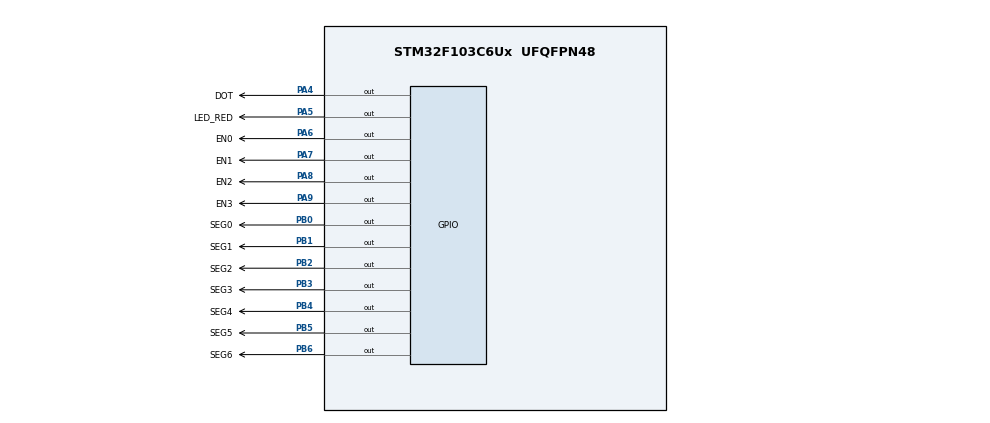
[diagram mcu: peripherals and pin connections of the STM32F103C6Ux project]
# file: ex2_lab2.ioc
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Mcu.Family=STM32F1
Mcu.Name=STM32F103C6Ux
Mcu.Package=UFQFPN48
NVIC.PriorityGroup=NVIC_PRIORITYGROUP_4
NVIC.TIM2_IRQn=true\:0\:0\:false\:false\:true\:true\:true
PA4.GPIO_Label=DOT
PA4.Signal=GPIO_Output
PA5.GPIO_Label=LED_RED
PA5.Signal=GPIO_Output
PA6.GPIO_Label=EN0
PA6.Signal=GPIO_Output
PA7.GPIO_Label=EN1
PA7.Signal=GPIO_Output
PA8.GPIO_Label=EN2
PA8.Signal=GPIO_Output
PA9.GPIO_Label=EN3
PA9.Signal=GPIO_Output
PB0.GPIO_Label=SEG0
PB0.Signal=GPIO_Output
PB1.GPIO_Label=SEG1
PB1.Signal=GPIO_Output
PB2.GPIO_Label=SEG2
PB2.Signal=GPIO_Output
PB3.GPIO_Label=SEG3
PB3.Signal=GPIO_Output
PB4.GPIO_Label=SEG4
PB4.Signal=GPIO_Output
PB5.GPIO_Label=SEG5
PB5.Signal=GPIO_Output
PB6.GPIO_Label=SEG6
PB6.Signal=GPIO_Output
ProjectManager.HeapSize=0x200
ProjectManager.StackSize=0x400
ProjectManager.TargetToolchain=STM32CubeIDE
RCC.APB1Freq_Value=8000000
RCC.APB2Freq_Value=8000000
TIM2.Period=9
TIM2.Prescaler=7999
VP_SYS_VS_ND.Mode=No_Debug
VP_TIM2_VS_ClockSourceINT.Mode=Internal
board=custom

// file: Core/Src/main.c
/* USER CODE BEGIN Header */
/**
  ******************************************************************************
  * @file           : main.c
  * @brief          : Main program body
  ******************************************************************************
  * @attention
  *
  * <h2><center>&copy; Copyright (c) 2022 STMicroelectronics.
  * All rights reserved.</center></h2>
  *
  * This software component is licensed by ST under BSD 3-Clause license,
  * the "License"; You may not use this file except in compliance with the
  * License. You may obtain a copy of the License at:
  *                        opensource.org/licenses/BSD-3-Clause
  *
  ******************************************************************************
  */
/* USER CODE END Header */
#include "main.h"

TIM_HandleTypeDef htim2;

void SystemClock_Config(void);
static void MX_GPIO_Init(void);
static void MX_TIM2_Init(void);

/* USER CODE BEGIN 0 */
void display7SEG(int num){
	uint16_t display[10] = {0x3f, 0x06, 0x5b, 0x4f, 0x66, 0x6d, 0x7D, 0x07, 0x7F, 0x6f};
	uint16_t bit_var = display[num];
	HAL_GPIO_WritePin(SEG0_GPIO_Port, SEG0_Pin, !(bit_var & 0x01));
		HAL_GPIO_WritePin(SEG1_GPIO_Port, SEG1_Pin, !((bit_var>>1)&0x01));
		HAL_GPIO_WritePin(SEG2_GPIO_Port, SEG2_Pin, !((bit_var>>2)&0x01));
		HAL_GPIO_WritePin(SEG3_GPIO_Port, SEG3_Pin, !((bit_var>>3)&0x01));
		HAL_GPIO_WritePin(SEG4_GPIO_Port, SEG4_Pin, !((bit_var>>4)&0x01));
		HAL_GPIO_WritePin(SEG5_GPIO_Port, SEG5_Pin, !((bit_var>>5)&0x01));
		HAL_GPIO_WritePin(SEG6_GPIO_Port, SEG6_Pin, !((bit_var>>6)&0x01));
}
/* USER CODE END 0 */

int main(void)
{

  /* MCU Configuration--------------------------------------------------------*/

  /* Reset of all peripherals, Initializes the Flash interface and the Systick. */
  HAL_Init();

  /* Configure the system clock */
  SystemClock_Config();

  /* Initialize all configured peripherals */
  MX_GPIO_Init();
  MX_TIM2_Init();
  /* USER CODE BEGIN 2 */
  HAL_TIM_Base_Start_IT(&htim2);
  /* USER CODE END 2 */

  /* Infinite loop */
  while (1)
  {

  }
}

void SystemClock_Config(void)
{
  RCC_OscInitTypeDef RCC_OscInitStruct = {0};
  RCC_ClkInitTypeDef RCC_ClkInitStruct = {0};

  /** Initializes the RCC Oscillators according to the specified parameters
  * in the RCC_OscInitTypeDef structure.
  */
  RCC_OscInitStruct.OscillatorType = RCC_OSCILLATORTYPE_HSI;
  RCC_OscInitStruct.HSIState = RCC_HSI_ON;
  RCC_OscInitStruct.HSICalibrationValue = RCC_HSICALIBRATION_DEFAULT;
  RCC_OscInitStruct.PLL.PLLState = RCC_PLL_NONE;
  if (HAL_RCC_OscConfig(&RCC_OscInitStruct) != HAL_OK)
  {
    Error_Handler();
  }
  /** Initializes the CPU, AHB and APB buses clocks
  */
  RCC_ClkInitStruct.ClockType = RCC_CLOCKTYPE_HCLK|RCC_CLOCKTYPE_SYSCLK
                              |RCC_CLOCKTYPE_PCLK1|RCC_CLOCKTYPE_PCLK2;
  RCC_ClkInitStruct.SYSCLKSource = RCC_SYSCLKSOURCE_HSI;
  RCC_ClkInitStruct.AHBCLKDivider = RCC_SYSCLK_DIV1;
  RCC_ClkInitStruct.APB1CLKDivider = RCC_HCLK_DIV1;
  RCC_ClkInitStruct.APB2CLKDivider = RCC_HCLK_DIV1;

  if (HAL_RCC_ClockConfig(&RCC_ClkInitStruct, FLASH_LATENCY_0) != HAL_OK)
  {
    Error_Handler();
  }
}

static void MX_TIM2_Init(void)
{

  TIM_ClockConfigTypeDef sClockSourceConfig = {0};
  TIM_MasterConfigTypeDef sMasterConfig = {0};

  htim2.Instance = TIM2;
  htim2.Init.Prescaler = 7999;
  htim2.Init.CounterMode = TIM_COUNTERMODE_UP;
  htim2.Init.Period = 9;
  htim2.Init.ClockDivision = TIM_CLOCKDIVISION_DIV1;
  htim2.Init.AutoReloadPreload = TIM_AUTORELOAD_PRELOAD_DISABLE;
  if (HAL_TIM_Base_Init(&htim2) != HAL_OK)
  {
    Error_Handler();
  }
  sClockSourceConfig.ClockSource = TIM_CLOCKSOURCE_INTERNAL;
  if (HAL_TIM_ConfigClockSource(&htim2, &sClockSourceConfig) != HAL_OK)
  {
    Error_Handler();
  }
  sMasterConfig.MasterOutputTrigger = TIM_TRGO_RESET;
  sMasterConfig.MasterSlaveMode = TIM_MASTERSLAVEMODE_DISABLE;
  if (HAL_TIMEx_MasterConfigSynchronization(&htim2, &sMasterConfig) != HAL_OK)
  {
    Error_Handler();
  }

}

static void MX_GPIO_Init(void)
{
  GPIO_InitTypeDef GPIO_InitStruct = {0};

  /* GPIO Ports Clock Enable */
  __HAL_RCC_GPIOA_CLK_ENABLE();
  __HAL_RCC_GPIOB_CLK_ENABLE();

  /*Configure GPIO pin Output Level */
  HAL_GPIO_WritePin(GPIOA, DOT_Pin|LED_RED_Pin|EN0_Pin|EN1_Pin
                          |EN2_Pin|EN3_Pin, GPIO_PIN_RESET);

  /*Configure GPIO pin Output Level */
  HAL_GPIO_WritePin(GPIOB, SEG0_Pin|SEG1_Pin|SEG2_Pin|SEG3_Pin
                          |SEG4_Pin|SEG5_Pin|SEG6_Pin, GPIO_PIN_RESET);

  /*Configure GPIO pins : DOT_Pin LED_RED_Pin EN0_Pin EN1_Pin
                           EN2_Pin EN3_Pin */
  GPIO_InitStruct.Pin = DOT_Pin|LED_RED_Pin|EN0_Pin|EN1_Pin
                          |EN2_Pin|EN3_Pin;
  GPIO_InitStruct.Mode = GPIO_MODE_OUTPUT_PP;
  GPIO_InitStruct.Pull = GPIO_NOPULL;
  GPIO_InitStruct.Speed = GPIO_SPEED_FREQ_LOW;
  HAL_GPIO_Init(GPIOA, &GPIO_InitStruct);

  /*Configure GPIO pins : SEG0_Pin SEG1_Pin SEG2_Pin SEG3_Pin
                           SEG4_Pin SEG5_Pin SEG6_Pin */
  GPIO_InitStruct.Pin = SEG0_Pin|SEG1_Pin|SEG2_Pin|SEG3_Pin
                          |SEG4_Pin|SEG5_Pin|SEG6_Pin;
  GPIO_InitStruct.Mode = GPIO_MODE_OUTPUT_PP;
  GPIO_InitStruct.Pull = GPIO_NOPULL;
  GPIO_InitStruct.Speed = GPIO_SPEED_FREQ_LOW;
  HAL_GPIO_Init(GPIOB, &GPIO_InitStruct);

}

/* USER CODE BEGIN 4 */
/*
 *variable counter is used to turn on and turn off
 *led each 0.5s
 */
int counter = 50;
int status = 0;
int counter1 = 100;// counter1 is used to turn on and turn off DOT and LED_RED in 1s period
void HAL_TIM_PeriodElapsedCallback(TIM_HandleTypeDef* htim)
{
	counter--;
	counter1--;
	//if counter <= 0, toggle DOT and LED_RED
		if(counter1 <= 0){
			counter1 = 100;
			HAL_GPIO_TogglePin(GPIOA, DOT_Pin);
			HAL_GPIO_TogglePin(LED_RED_GPIO_Port, LED_RED_Pin);
		}
		// LED 7 SEGMENT_0 turns on and others turn off
		if(status == 0){
			//if counter <= 0, status = 1 and set counter = 50
			if(counter <=0 ) {
				counter = 50;
				status = 1;
			}
			HAL_GPIO_WritePin(GPIOA, EN0_Pin, RESET);
			HAL_GPIO_WritePin(GPIOA, EN1_Pin, SET);
			HAL_GPIO_WritePin(GPIOA, EN2_Pin, SET);
			HAL_GPIO_WritePin(GPIOA, EN3_Pin, SET);
			display7SEG(1);
		}
		// LED 7 SEGMENT_1 is turns on and others turn off
		if(status == 1){
			//if counter <= 0, status = 2 and set counter = 50
			if(counter <=0 ) {
				counter = 50;
				status = 2;
			}
			HAL_GPIO_WritePin(GPIOA, EN0_Pin, SET);
			HAL_GPIO_WritePin(GPIOA, EN1_Pin, RESET);
			HAL_GPIO_WritePin(GPIOA, EN2_Pin, SET);
			HAL_GPIO_WritePin(GPIOA, EN3_Pin, SET);
			display7SEG(2);
			}
		// LED 7 SEGMENT_2 is turns on and others turn off
		if(status == 2){
			//if counter <= 0, status = 3 and set counter = 50
			if(counter <=0 ) {
				counter = 50;
				status = 3;
			}
			HAL_GPIO_WritePin(GPIOA, EN0_Pin, SET);
			HAL_GPIO_WritePin(GPIOA, EN1_Pin, SET);
			HAL_GPIO_WritePin(GPIOA, EN2_Pin, RESET);
			HAL_GPIO_WritePin(GPIOA, EN3_Pin, SET);
			display7SEG(0);
				}
		// LED 7 SEGMENT_3 turns on and others turn off
		if(status == 3){
			//if counter <= 0, status = 0 and set counter = 50
			if(counter <=0 ) {
				counter = 50;
				status = 0;
			}
			HAL_GPIO_WritePin(GPIOA, EN0_Pin, SET);
			HAL_GPIO_WritePin(GPIOA, EN1_Pin, SET);
			HAL_GPIO_WritePin(GPIOA, EN2_Pin, SET);
			HAL_GPIO_WritePin(GPIOA, EN3_Pin, RESET);
		   display7SEG(3);
		  }
}
/* USER CODE END 4 */

void Error_Handler(void)
{
  __disable_irq();
  while (1)
  {
  }
}

/************************ (C) COPYRIGHT STMicroelectronics *****END OF FILE****/
